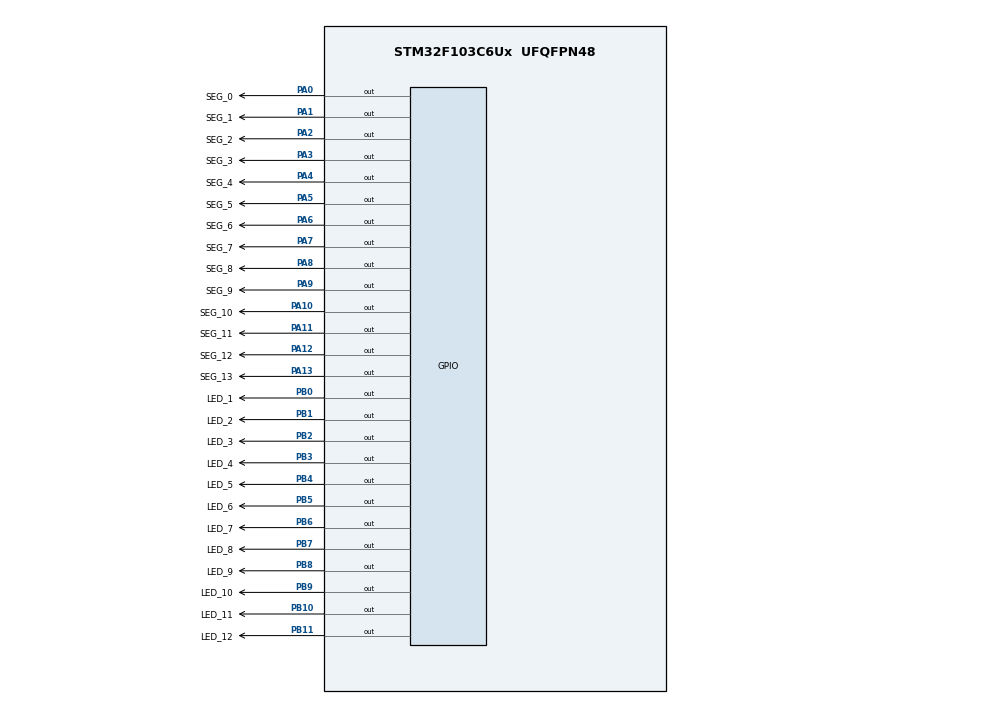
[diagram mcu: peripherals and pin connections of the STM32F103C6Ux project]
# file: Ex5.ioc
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Mcu.Family=STM32F1
Mcu.Name=STM32F103C6Ux
Mcu.Package=UFQFPN48
NVIC.PriorityGroup=NVIC_PRIORITYGROUP_4
PA0-WKUP.GPIO_Label=SEG_0
PA0-WKUP.Signal=GPIO_Output
PA1.GPIO_Label=SEG_1
PA1.Signal=GPIO_Output
PA10.GPIO_Label=SEG_10
PA10.Signal=GPIO_Output
PA11.GPIO_Label=SEG_11
PA11.Signal=GPIO_Output
PA12.GPIO_Label=SEG_12
PA12.Signal=GPIO_Output
PA13.GPIO_Label=SEG_13
PA13.Signal=GPIO_Output
PA2.GPIO_Label=SEG_2
PA2.Signal=GPIO_Output
PA3.GPIO_Label=SEG_3
PA3.Signal=GPIO_Output
PA4.GPIO_Label=SEG_4
PA4.Signal=GPIO_Output
PA5.GPIO_Label=SEG_5
PA5.Signal=GPIO_Output
PA6.GPIO_Label=SEG_6
PA6.Signal=GPIO_Output
PA7.GPIO_Label=SEG_7
PA7.Signal=GPIO_Output
PA8.GPIO_Label=SEG_8
PA8.Signal=GPIO_Output
PA9.GPIO_Label=SEG_9
PA9.Signal=GPIO_Output
PB0.GPIO_Label=LED_1
PB0.Signal=GPIO_Output
PB1.GPIO_Label=LED_2
PB1.Signal=GPIO_Output
PB10.GPIO_Label=LED_11
PB10.Signal=GPIO_Output
PB11.GPIO_Label=LED_12
PB11.Signal=GPIO_Output
PB2.GPIO_Label=LED_3
PB2.Signal=GPIO_Output
PB3.GPIO_Label=LED_4
PB3.Signal=GPIO_Output
PB4.GPIO_Label=LED_5
PB4.Signal=GPIO_Output
PB5.GPIO_Label=LED_6
PB5.Signal=GPIO_Output
PB6.GPIO_Label=LED_7
PB6.Signal=GPIO_Output
PB7.GPIO_Label=LED_8
PB7.Signal=GPIO_Output
PB8.GPIO_Label=LED_9
PB8.Signal=GPIO_Output
PB9.GPIO_Label=LED_10
PB9.Signal=GPIO_Output
ProjectManager.HeapSize=0x200
ProjectManager.StackSize=0x400
ProjectManager.TargetToolchain=STM32CubeIDE
RCC.APB1Freq_Value=8000000
RCC.APB2Freq_Value=8000000
VP_SYS_VS_ND.Mode=No_Debug
board=custom

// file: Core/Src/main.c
/* USER CODE BEGIN Header */
/**
  ******************************************************************************
  * @file           : main.c
  * @brief          : Main program body
  ******************************************************************************
  * @attention
  *
  * <h2><center>&copy; Copyright (c) 2024 STMicroelectronics.
  * All rights reserved.</center></h2>
  *
  * This software component is licensed by ST under BSD 3-Clause license,
  * the "License"; You may not use this file except in compliance with the
  * License. You may obtain a copy of the License at:
  *                        opensource.org/licenses/BSD-3-Clause
  *
  ******************************************************************************
  */
/* USER CODE END Header */
#include "main.h"

void SystemClock_Config(void);
static void MX_GPIO_Init(void);

int main(void)
{

  /* MCU Configuration--------------------------------------------------------*/

  /* Reset of all peripherals, Initializes the Flash interface and the Systick. */
  HAL_Init();

  /* Configure the system clock */
  SystemClock_Config();

  /* Initialize all configured peripherals */
  MX_GPIO_Init();
  /* USER CODE BEGIN 2 */
  void display7SEG(int num1)
    {
  	  if (num1 == 0)
  	  {
  		  HAL_GPIO_WritePin(SEG_0_GPIO_Port, SEG_0_Pin, GPIO_PIN_RESET);
  		  HAL_GPIO_WritePin(SEG_1_GPIO_Port, SEG_1_Pin, GPIO_PIN_RESET);
  		  HAL_GPIO_WritePin(SEG_2_GPIO_Port, SEG_2_Pin, GPIO_PIN_RESET);
  		  HAL_GPIO_WritePin(SEG_3_GPIO_Port, SEG_3_Pin, GPIO_PIN_RESET);
  		  HAL_GPIO_WritePin(SEG_4_GPIO_Port, SEG_4_Pin, GPIO_PIN_RESET);
  		  HAL_GPIO_WritePin(SEG_5_GPIO_Port, SEG_5_Pin, GPIO_PIN_RESET);
  		  HAL_GPIO_WritePin(SEG_6_GPIO_Port, SEG_6_Pin, GPIO_PIN_SET);
  	  }
  	  else if (num1 == 1)
  	  {
  		  HAL_GPIO_WritePin(SEG_0_GPIO_Port, SEG_0_Pin, GPIO_PIN_SET);
  		  HAL_GPIO_WritePin(SEG_1_GPIO_Port, SEG_1_Pin, GPIO_PIN_RESET);
  		  HAL_GPIO_WritePin(SEG_2_GPIO_Port, SEG_2_Pin, GPIO_PIN_RESET);
  		  HAL_GPIO_WritePin(SEG_3_GPIO_Port, SEG_3_Pin, GPIO_PIN_SET);
  		  HAL_GPIO_WritePin(SEG_4_GPIO_Port, SEG_4_Pin, GPIO_PIN_SET);
  		  HAL_GPIO_WritePin(SEG_5_GPIO_Port, SEG_5_Pin, GPIO_PIN_SET);
  		  HAL_GPIO_WritePin(SEG_6_GPIO_Port, SEG_6_Pin, GPIO_PIN_SET);
  	  }
  	  else if (num1 == 2)
  	  {
  		  HAL_GPIO_WritePin(SEG_0_GPIO_Port, SEG_0_Pin, GPIO_PIN_RESET);
  		  HAL_GPIO_WritePin(SEG_1_GPIO_Port, SEG_1_Pin, GPIO_PIN_RESET);
  		  HAL_GPIO_WritePin(SEG_2_GPIO_Port, SEG_2_Pin, GPIO_PIN_SET);
  		  HAL_GPIO_WritePin(SEG_3_GPIO_Port, SEG_3_Pin, GPIO_PIN_RESET);
  		  HAL_GPIO_WritePin(SEG_4_GPIO_Port, SEG_4_Pin, GPIO_PIN_RESET);
  		  HAL_GPIO_WritePin(SEG_5_GPIO_Port, SEG_5_Pin, GPIO_PIN_SET);
  		  HAL_GPIO_WritePin(SEG_6_GPIO_Port, SEG_6_Pin, GPIO_PIN_RESET);
  	  }
  	  else if (num1 == 3)
  	  {
  		  HAL_GPIO_WritePin(SEG_0_GPIO_Port, SEG_0_Pin, GPIO_PIN_RESET);
  		  HAL_GPIO_WritePin(SEG_1_GPIO_Port, SEG_1_Pin, GPIO_PIN_RESET);
  		  HAL_GPIO_WritePin(SEG_2_GPIO_Port, SEG_2_Pin, GPIO_PIN_RESET);
  		  HAL_GPIO_WritePin(SEG_3_GPIO_Port, SEG_3_Pin, GPIO_PIN_RESET);
  		  HAL_GPIO_WritePin(SEG_4_GPIO_Port, SEG_4_Pin, GPIO_PIN_SET);
  		  HAL_GPIO_WritePin(SEG_5_GPIO_Port, SEG_5_Pin, GPIO_PIN_SET);
  		  HAL_GPIO_WritePin(SEG_6_GPIO_Port, SEG_6_Pin, GPIO_PIN_RESET);
  	  }
  	  else if (num1 == 4)
  	  {
  		  HAL_GPIO_WritePin(SEG_0_GPIO_Port, SEG_0_Pin, GPIO_PIN_SET);
  		  HAL_GPIO_WritePin(SEG_1_GPIO_Port, SEG_1_Pin, GPIO_PIN_RESET);
  		  HAL_GPIO_WritePin(SEG_2_GPIO_Port, SEG_2_Pin, GPIO_PIN_RESET);
  		  HAL_GPIO_WritePin(SEG_3_GPIO_Port, SEG_3_Pin, GPIO_PIN_SET);
  		  HAL_GPIO_WritePin(SEG_4_GPIO_Port, SEG_4_Pin, GPIO_PIN_SET);
  		  HAL_GPIO_WritePin(SEG_5_GPIO_Port, SEG_5_Pin, GPIO_PIN_RESET);
  		  HAL_GPIO_WritePin(SEG_6_GPIO_Port, SEG_6_Pin, GPIO_PIN_RESET);
  	  }
  	  else if (num1 == 5)
  	  {
  		  HAL_GPIO_WritePin(SEG_0_GPIO_Port, SEG_0_Pin, GPIO_PIN_RESET);
  		  HAL_GPIO_WritePin(SEG_1_GPIO_Port, SEG_1_Pin, GPIO_PIN_SET);
  		  HAL_GPIO_WritePin(SEG_2_GPIO_Port, SEG_2_Pin, GPIO_PIN_RESET);
  		  HAL_GPIO_WritePin(SEG_3_GPIO_Port, SEG_3_Pin, GPIO_PIN_RESET);
  		  HAL_GPIO_WritePin(SEG_4_GPIO_Port, SEG_4_Pin, GPIO_PIN_SET);
  		  HAL_GPIO_WritePin(SEG_5_GPIO_Port, SEG_5_Pin, GPIO_PIN_RESET);
  		  HAL_GPIO_WritePin(SEG_6_GPIO_Port, SEG_6_Pin, GPIO_PIN_RESET);
  	  }
  	  else if (num1 == 6)
  	  {
  		  HAL_GPIO_WritePin(SEG_0_GPIO_Port, SEG_0_Pin, GPIO_PIN_RESET);
  		  HAL_GPIO_WritePin(SEG_1_GPIO_Port, SEG_1_Pin, GPIO_PIN_SET);
  		  HAL_GPIO_WritePin(SEG_2_GPIO_Port, SEG_2_Pin, GPIO_PIN_RESET);
  		  HAL_GPIO_WritePin(SEG_3_GPIO_Port, SEG_3_Pin, GPIO_PIN_RESET);
  		  HAL_GPIO_WritePin(SEG_4_GPIO_Port, SEG_4_Pin, GPIO_PIN_RESET);
  		  HAL_GPIO_WritePin(SEG_5_GPIO_Port, SEG_5_Pin, GPIO_PIN_RESET);
  		  HAL_GPIO_WritePin(SEG_6_GPIO_Port, SEG_6_Pin, GPIO_PIN_RESET);
  	  }
  	  else if (num1 == 7)
  	  {
  		  HAL_GPIO_WritePin(SEG_0_GPIO_Port, SEG_0_Pin, GPIO_PIN_RESET);
  		  HAL_GPIO_WritePin(SEG_1_GPIO_Port, SEG_1_Pin, GPIO_PIN_RESET);
  		  HAL_GPIO_WritePin(SEG_2_GPIO_Port, SEG_2_Pin, GPIO_PIN_RESET);
  		  HAL_GPIO_WritePin(SEG_3_GPIO_Port, SEG_3_Pin, GPIO_PIN_SET);
  		  HAL_GPIO_WritePin(SEG_4_GPIO_Port, SEG_4_Pin, GPIO_PIN_SET);
  		  HAL_GPIO_WritePin(SEG_5_GPIO_Port, SEG_5_Pin, GPIO_PIN_SET);
  		  HAL_GPIO_WritePin(SEG_6_GPIO_Port, SEG_6_Pin, GPIO_PIN_SET);
  	  }
  	  else if (num1 == 8)
  	  {
  		  HAL_GPIO_WritePin(SEG_0_GPIO_Port, SEG_0_Pin, GPIO_PIN_RESET);
  		  HAL_GPIO_WritePin(SEG_1_GPIO_Port, SEG_1_Pin, GPIO_PIN_RESET);
  		  HAL_GPIO_WritePin(SEG_2_GPIO_Port, SEG_2_Pin, GPIO_PIN_RESET);
  		  HAL_GPIO_WritePin(SEG_3_GPIO_Port, SEG_3_Pin, GPIO_PIN_RESET);
  		  HAL_GPIO_WritePin(SEG_4_GPIO_Port, SEG_4_Pin, GPIO_PIN_RESET);
  		  HAL_GPIO_WritePin(SEG_5_GPIO_Port, SEG_5_Pin, GPIO_PIN_RESET);
  		  HAL_GPIO_WritePin(SEG_6_GPIO_Port, SEG_6_Pin, GPIO_PIN_RESET);
  	  }
  	  else if (num1 == 9)
  	  {
  		  HAL_GPIO_WritePin(SEG_0_GPIO_Port, SEG_0_Pin, GPIO_PIN_RESET);
  		  HAL_GPIO_WritePin(SEG_1_GPIO_Port, SEG_1_Pin, GPIO_PIN_RESET);
  		  HAL_GPIO_WritePin(SEG_2_GPIO_Port, SEG_2_Pin, GPIO_PIN_RESET);
  		  HAL_GPIO_WritePin(SEG_3_GPIO_Port, SEG_3_Pin, GPIO_PIN_RESET);
  		  HAL_GPIO_WritePin(SEG_4_GPIO_Port, SEG_4_Pin, GPIO_PIN_SET);
  		  HAL_GPIO_WritePin(SEG_5_GPIO_Port, SEG_5_Pin, GPIO_PIN_RESET);
  		  HAL_GPIO_WritePin(SEG_6_GPIO_Port, SEG_6_Pin, GPIO_PIN_RESET);
  	  }
    }

  void display7SEG2(int num2)
    {
  	  if (num2 == 0)
  	  {
  		  HAL_GPIO_WritePin(SEG_7_GPIO_Port, SEG_7_Pin, GPIO_PIN_RESET);
  		  HAL_GPIO_WritePin(SEG_8_GPIO_Port, SEG_8_Pin, GPIO_PIN_RESET);
  		  HAL_GPIO_WritePin(SEG_9_GPIO_Port, SEG_9_Pin, GPIO_PIN_RESET);
  		  HAL_GPIO_WritePin(SEG_10_GPIO_Port, SEG_10_Pin, GPIO_PIN_RESET);
  		  HAL_GPIO_WritePin(SEG_11_GPIO_Port, SEG_11_Pin, GPIO_PIN_RESET);
  		  HAL_GPIO_WritePin(SEG_12_GPIO_Port, SEG_12_Pin, GPIO_PIN_RESET);
  		  HAL_GPIO_WritePin(SEG_13_GPIO_Port, SEG_13_Pin, GPIO_PIN_SET);
  	  }
  	  else if (num2 == 1)
  	  {
  		  HAL_GPIO_WritePin(SEG_7_GPIO_Port, SEG_7_Pin, GPIO_PIN_SET);
  		  HAL_GPIO_WritePin(SEG_8_GPIO_Port, SEG_8_Pin, GPIO_PIN_RESET);
  		  HAL_GPIO_WritePin(SEG_9_GPIO_Port, SEG_9_Pin, GPIO_PIN_RESET);
  		  HAL_GPIO_WritePin(SEG_10_GPIO_Port, SEG_10_Pin, GPIO_PIN_SET);
  		  HAL_GPIO_WritePin(SEG_11_GPIO_Port, SEG_11_Pin, GPIO_PIN_SET);
  		  HAL_GPIO_WritePin(SEG_12_GPIO_Port, SEG_12_Pin, GPIO_PIN_SET);
  		  HAL_GPIO_WritePin(SEG_13_GPIO_Port, SEG_13_Pin, GPIO_PIN_SET);
  	  }
  	  else if (num2 == 2)
  	  {
  		  HAL_GPIO_WritePin(SEG_7_GPIO_Port, SEG_7_Pin, GPIO_PIN_RESET);
  		  HAL_GPIO_WritePin(SEG_8_GPIO_Port, SEG_8_Pin, GPIO_PIN_RESET);
  		  HAL_GPIO_WritePin(SEG_9_GPIO_Port, SEG_9_Pin, GPIO_PIN_SET);
  		  HAL_GPIO_WritePin(SEG_10_GPIO_Port, SEG_10_Pin, GPIO_PIN_RESET);
  		  HAL_GPIO_WritePin(SEG_11_GPIO_Port, SEG_11_Pin, GPIO_PIN_RESET);
  		  HAL_GPIO_WritePin(SEG_12_GPIO_Port, SEG_12_Pin, GPIO_PIN_SET);
  		  HAL_GPIO_WritePin(SEG_13_GPIO_Port, SEG_13_Pin, GPIO_PIN_RESET);
  	  }
  	  else if (num2 == 3)
  	  {
  		  HAL_GPIO_WritePin(SEG_7_GPIO_Port, SEG_7_Pin, GPIO_PIN_RESET);
  		  HAL_GPIO_WritePin(SEG_8_GPIO_Port, SEG_8_Pin, GPIO_PIN_RESET);
  		  HAL_GPIO_WritePin(SEG_9_GPIO_Port, SEG_9_Pin, GPIO_PIN_RESET);
  		  HAL_GPIO_WritePin(SEG_10_GPIO_Port, SEG_10_Pin, GPIO_PIN_RESET);
  		  HAL_GPIO_WritePin(SEG_11_GPIO_Port, SEG_11_Pin, GPIO_PIN_SET);
  		  HAL_GPIO_WritePin(SEG_12_GPIO_Port, SEG_12_Pin, GPIO_PIN_SET);
  		  HAL_GPIO_WritePin(SEG_13_GPIO_Port, SEG_13_Pin, GPIO_PIN_RESET);
  	  }
  	  else if (num2 == 4)
  	  {
  		  HAL_GPIO_WritePin(SEG_7_GPIO_Port, SEG_7_Pin, GPIO_PIN_SET);
  		  HAL_GPIO_WritePin(SEG_8_GPIO_Port, SEG_8_Pin, GPIO_PIN_RESET);
  		  HAL_GPIO_WritePin(SEG_9_GPIO_Port, SEG_9_Pin, GPIO_PIN_RESET);
  		  HAL_GPIO_WritePin(SEG_10_GPIO_Port, SEG_10_Pin, GPIO_PIN_SET);
  		  HAL_GPIO_WritePin(SEG_11_GPIO_Port, SEG_11_Pin, GPIO_PIN_SET);
  		  HAL_GPIO_WritePin(SEG_12_GPIO_Port, SEG_12_Pin, GPIO_PIN_RESET);
  		  HAL_GPIO_WritePin(SEG_13_GPIO_Port, SEG_13_Pin, GPIO_PIN_RESET);
  	  }
  	  else if (num2 == 5)
  	  {
  		  HAL_GPIO_WritePin(SEG_7_GPIO_Port, SEG_7_Pin, GPIO_PIN_RESET);
  		  HAL_GPIO_WritePin(SEG_8_GPIO_Port, SEG_8_Pin, GPIO_PIN_SET);
  		  HAL_GPIO_WritePin(SEG_9_GPIO_Port, SEG_9_Pin, GPIO_PIN_RESET);
  		  HAL_GPIO_WritePin(SEG_10_GPIO_Port, SEG_10_Pin, GPIO_PIN_RESET);
  		  HAL_GPIO_WritePin(SEG_11_GPIO_Port, SEG_11_Pin, GPIO_PIN_SET);
  		  HAL_GPIO_WritePin(SEG_12_GPIO_Port, SEG_12_Pin, GPIO_PIN_RESET);
  		  HAL_GPIO_WritePin(SEG_13_GPIO_Port, SEG_13_Pin, GPIO_PIN_RESET);
  	  }
  	  else if (num2 == 6)
  	  {
  		  HAL_GPIO_WritePin(SEG_7_GPIO_Port, SEG_7_Pin, GPIO_PIN_RESET);
  		  HAL_GPIO_WritePin(SEG_8_GPIO_Port, SEG_8_Pin, GPIO_PIN_SET);
  		  HAL_GPIO_WritePin(SEG_9_GPIO_Port, SEG_9_Pin, GPIO_PIN_RESET);
  		  HAL_GPIO_WritePin(SEG_10_GPIO_Port, SEG_10_Pin, GPIO_PIN_RESET);
  		  HAL_GPIO_WritePin(SEG_11_GPIO_Port, SEG_11_Pin, GPIO_PIN_RESET);
  		  HAL_GPIO_WritePin(SEG_12_GPIO_Port, SEG_12_Pin, GPIO_PIN_RESET);
  		  HAL_GPIO_WritePin(SEG_13_GPIO_Port, SEG_13_Pin, GPIO_PIN_RESET);
  	  }
  	  else if (num2 == 7)
  	  {
  		  HAL_GPIO_WritePin(SEG_7_GPIO_Port, SEG_7_Pin, GPIO_PIN_RESET);
  		  HAL_GPIO_WritePin(SEG_8_GPIO_Port, SEG_8_Pin, GPIO_PIN_RESET);
  		  HAL_GPIO_WritePin(SEG_9_GPIO_Port, SEG_9_Pin, GPIO_PIN_RESET);
  		  HAL_GPIO_WritePin(SEG_10_GPIO_Port, SEG_10_Pin, GPIO_PIN_SET);
  		  HAL_GPIO_WritePin(SEG_11_GPIO_Port, SEG_11_Pin, GPIO_PIN_SET);
  		  HAL_GPIO_WritePin(SEG_12_GPIO_Port, SEG_12_Pin, GPIO_PIN_SET);
  		  HAL_GPIO_WritePin(SEG_13_GPIO_Port, SEG_13_Pin, GPIO_PIN_SET);
  	  }
  	  else if (num2 == 8)
  	  {
  		  HAL_GPIO_WritePin(SEG_7_GPIO_Port, SEG_7_Pin, GPIO_PIN_RESET);
  		  HAL_GPIO_WritePin(SEG_8_GPIO_Port, SEG_8_Pin, GPIO_PIN_RESET);
  		  HAL_GPIO_WritePin(SEG_9_GPIO_Port, SEG_9_Pin, GPIO_PIN_RESET);
  		  HAL_GPIO_WritePin(SEG_10_GPIO_Port, SEG_10_Pin, GPIO_PIN_RESET);
  		  HAL_GPIO_WritePin(SEG_11_GPIO_Port, SEG_11_Pin, GPIO_PIN_RESET);
  		  HAL_GPIO_WritePin(SEG_12_GPIO_Port, SEG_12_Pin, GPIO_PIN_RESET);
  		  HAL_GPIO_WritePin(SEG_13_GPIO_Port, SEG_13_Pin, GPIO_PIN_RESET);
  	  }
  	  else if (num2 == 9)
  	  {
  		  HAL_GPIO_WritePin(SEG_7_GPIO_Port, SEG_7_Pin, GPIO_PIN_RESET);
  		  HAL_GPIO_WritePin(SEG_8_GPIO_Port, SEG_8_Pin, GPIO_PIN_RESET);
  		  HAL_GPIO_WritePin(SEG_9_GPIO_Port, SEG_9_Pin, GPIO_PIN_RESET);
  		  HAL_GPIO_WritePin(SEG_10_GPIO_Port, SEG_10_Pin, GPIO_PIN_RESET);
  		  HAL_GPIO_WritePin(SEG_11_GPIO_Port, SEG_11_Pin, GPIO_PIN_SET);
  		  HAL_GPIO_WritePin(SEG_12_GPIO_Port, SEG_12_Pin, GPIO_PIN_RESET);
  		  HAL_GPIO_WritePin(SEG_13_GPIO_Port, SEG_13_Pin, GPIO_PIN_RESET);
  	  }
    }

  HAL_GPIO_WritePin(LED_1_GPIO_Port, LED_1_Pin, GPIO_PIN_RESET);
  HAL_GPIO_WritePin(LED_2_GPIO_Port, LED_2_Pin, GPIO_PIN_RESET);
  HAL_GPIO_WritePin(LED_3_GPIO_Port, LED_3_Pin, GPIO_PIN_RESET);
  HAL_GPIO_WritePin(LED_4_GPIO_Port, LED_4_Pin, GPIO_PIN_RESET);
  HAL_GPIO_WritePin(LED_5_GPIO_Port, LED_5_Pin, GPIO_PIN_RESET);
  HAL_GPIO_WritePin(LED_6_GPIO_Port, LED_6_Pin, GPIO_PIN_RESET);
  HAL_GPIO_WritePin(LED_7_GPIO_Port, LED_7_Pin, GPIO_PIN_RESET);
  HAL_GPIO_WritePin(LED_8_GPIO_Port, LED_8_Pin, GPIO_PIN_RESET);
  HAL_GPIO_WritePin(LED_9_GPIO_Port, LED_9_Pin, GPIO_PIN_RESET);
  HAL_GPIO_WritePin(LED_10_GPIO_Port, LED_10_Pin, GPIO_PIN_RESET);
  HAL_GPIO_WritePin(LED_11_GPIO_Port, LED_11_Pin, GPIO_PIN_RESET);
  HAL_GPIO_WritePin(LED_12_GPIO_Port, LED_12_Pin, GPIO_PIN_RESET);

  HAL_GPIO_WritePin(SEG_0_GPIO_Port, SEG_0_Pin, GPIO_PIN_SET);
  HAL_GPIO_WritePin(SEG_1_GPIO_Port, SEG_1_Pin, GPIO_PIN_SET);
  HAL_GPIO_WritePin(SEG_2_GPIO_Port, SEG_2_Pin, GPIO_PIN_SET);
  HAL_GPIO_WritePin(SEG_3_GPIO_Port, SEG_3_Pin, GPIO_PIN_SET);
  HAL_GPIO_WritePin(SEG_4_GPIO_Port, SEG_4_Pin, GPIO_PIN_SET);
  HAL_GPIO_WritePin(SEG_5_GPIO_Port, SEG_5_Pin, GPIO_PIN_SET);
  HAL_GPIO_WritePin(SEG_6_GPIO_Port, SEG_6_Pin, GPIO_PIN_SET);

  HAL_GPIO_WritePin(SEG_7_GPIO_Port, SEG_7_Pin, GPIO_PIN_SET);
  HAL_GPIO_WritePin(SEG_8_GPIO_Port, SEG_8_Pin, GPIO_PIN_SET);
  HAL_GPIO_WritePin(SEG_9_GPIO_Port, SEG_9_Pin, GPIO_PIN_SET);
  HAL_GPIO_WritePin(SEG_10_GPIO_Port, SEG_10_Pin, GPIO_PIN_SET);
  HAL_GPIO_WritePin(SEG_11_GPIO_Port, SEG_11_Pin, GPIO_PIN_SET);
  HAL_GPIO_WritePin(SEG_12_GPIO_Port, SEG_12_Pin, GPIO_PIN_SET);
  HAL_GPIO_WritePin(SEG_13_GPIO_Port, SEG_13_Pin, GPIO_PIN_SET);
  /* USER CODE END 2 */

  /* Infinite loop */
  /* USER CODE BEGIN WHILE */
  int counter1 = 0;
  int counter2 = 0;
  int counter3 = 10;
  int counter4 = 10;
  while (1)
  {
	  counter1++;
	  counter2++;
	  counter3--;
	  counter4--;
	  	  if (counter1 <= 5)
	  	  {
	  		  HAL_GPIO_WritePin(LED_2_GPIO_Port, LED_2_Pin, GPIO_PIN_RESET);
	  		  HAL_GPIO_WritePin(LED_8_GPIO_Port, LED_8_Pin, GPIO_PIN_RESET);
	  		  HAL_GPIO_WritePin(LED_1_GPIO_Port, LED_1_Pin, GPIO_PIN_SET);
	  		  HAL_GPIO_WritePin(LED_7_GPIO_Port, LED_7_Pin, GPIO_PIN_SET);
	  		  display7SEG(counter3 - 5);
	  	  }
	  	  else if (counter1 > 5 && counter1 <= 8)
	  	  {
	  		  HAL_GPIO_WritePin(LED_1_GPIO_Port, LED_1_Pin, GPIO_PIN_RESET);
	  		  HAL_GPIO_WritePin(LED_7_GPIO_Port, LED_7_Pin, GPIO_PIN_RESET);
	  		  HAL_GPIO_WritePin(LED_3_GPIO_Port, LED_3_Pin, GPIO_PIN_SET);
	  		  HAL_GPIO_WritePin(LED_9_GPIO_Port, LED_9_Pin, GPIO_PIN_SET);
	  		  display7SEG(counter3 - 2);
	  	  }
	  	  else if (counter1 > 8 && counter1 <= 10)
	  	  {
	  		  HAL_GPIO_WritePin(LED_3_GPIO_Port, LED_3_Pin, GPIO_PIN_RESET);
	  		  HAL_GPIO_WritePin(LED_9_GPIO_Port, LED_9_Pin, GPIO_PIN_RESET);
	  		  HAL_GPIO_WritePin(LED_2_GPIO_Port, LED_2_Pin, GPIO_PIN_SET);
	  		  HAL_GPIO_WritePin(LED_8_GPIO_Port, LED_8_Pin, GPIO_PIN_SET);
	  		  display7SEG(counter3);
	  	  }
	  	  if (counter2 <= 3)
	  	  {
	  		  HAL_GPIO_WritePin(LED_4_GPIO_Port, LED_4_Pin, GPIO_PIN_RESET);
	  		  HAL_GPIO_WritePin(LED_10_GPIO_Port, LED_10_Pin, GPIO_PIN_RESET);
	  		  HAL_GPIO_WritePin(LED_6_GPIO_Port, LED_6_Pin, GPIO_PIN_SET);
	  		  HAL_GPIO_WritePin(LED_12_GPIO_Port, LED_12_Pin, GPIO_PIN_SET);
	  		  display7SEG2(counter4 - 7);
	  	  }
	  	  else if (counter2 > 3 && counter2 <= 5)
	  	  {
	  		  HAL_GPIO_WritePin(LED_5_GPIO_Port, LED_5_Pin, GPIO_PIN_SET);
	  		  HAL_GPIO_WritePin(LED_11_GPIO_Port, LED_11_Pin, GPIO_PIN_SET);
	  		  HAL_GPIO_WritePin(LED_6_GPIO_Port, LED_6_Pin, GPIO_PIN_RESET);
	  		  HAL_GPIO_WritePin(LED_12_GPIO_Port, LED_12_Pin, GPIO_PIN_RESET);
	  		  display7SEG2(counter4 - 5);
	  	  }
	  	  else if (counter2 > 5 && counter2 <= 10)
	  	  {
	  		  HAL_GPIO_WritePin(LED_4_GPIO_Port, LED_4_Pin, GPIO_PIN_SET);
	  		  HAL_GPIO_WritePin(LED_10_GPIO_Port, LED_10_Pin, GPIO_PIN_SET);
	  		  HAL_GPIO_WritePin(LED_5_GPIO_Port, LED_5_Pin, GPIO_PIN_RESET);
	  		  HAL_GPIO_WritePin(LED_11_GPIO_Port, LED_11_Pin, GPIO_PIN_RESET);
	  		  display7SEG2(counter4);
	  	  }
	  	  if (counter1 >= 10) counter1 = 0;
	  	  if (counter2 >= 10) counter2 = 0;
	  	  if (counter3 <= 0) counter3 = 10;
	  	  if (counter4 <= 0) counter4 = 10;
	  	  HAL_Delay(1000);
  }
    /* USER CODE END WHILE */

}

void SystemClock_Config(void)
{
  RCC_OscInitTypeDef RCC_OscInitStruct = {0};
  RCC_ClkInitTypeDef RCC_ClkInitStruct = {0};

  /** Initializes the RCC Oscillators according to the specified parameters
  * in the RCC_OscInitTypeDef structure.
  */
  RCC_OscInitStruct.OscillatorType = RCC_OSCILLATORTYPE_HSI;
  RCC_OscInitStruct.HSIState = RCC_HSI_ON;
  RCC_OscInitStruct.HSICalibrationValue = RCC_HSICALIBRATION_DEFAULT;
  RCC_OscInitStruct.PLL.PLLState = RCC_PLL_NONE;
  if (HAL_RCC_OscConfig(&RCC_OscInitStruct) != HAL_OK)
  {
    Error_Handler();
  }
  /** Initializes the CPU, AHB and APB buses clocks
  */
  RCC_ClkInitStruct.ClockType = RCC_CLOCKTYPE_HCLK|RCC_CLOCKTYPE_SYSCLK
                              |RCC_CLOCKTYPE_PCLK1|RCC_CLOCKTYPE_PCLK2;
  RCC_ClkInitStruct.SYSCLKSource = RCC_SYSCLKSOURCE_HSI;
  RCC_ClkInitStruct.AHBCLKDivider = RCC_SYSCLK_DIV1;
  RCC_ClkInitStruct.APB1CLKDivider = RCC_HCLK_DIV1;
  RCC_ClkInitStruct.APB2CLKDivider = RCC_HCLK_DIV1;

  if (HAL_RCC_ClockConfig(&RCC_ClkInitStruct, FLASH_LATENCY_0) != HAL_OK)
  {
    Error_Handler();
  }
}

static void MX_GPIO_Init(void)
{
  GPIO_InitTypeDef GPIO_InitStruct = {0};

  /* GPIO Ports Clock Enable */
  __HAL_RCC_GPIOA_CLK_ENABLE();
  __HAL_RCC_GPIOB_CLK_ENABLE();

  /*Configure GPIO pin Output Level */
  HAL_GPIO_WritePin(GPIOA, SEG_0_Pin|SEG_1_Pin|SEG_2_Pin|SEG_3_Pin
                          |SEG_4_Pin|SEG_5_Pin|SEG_6_Pin|SEG_7_Pin
                          |SEG_8_Pin|SEG_9_Pin|SEG_10_Pin|SEG_11_Pin
                          |SEG_12_Pin|SEG_13_Pin, GPIO_PIN_RESET);

  /*Configure GPIO pin Output Level */
  HAL_GPIO_WritePin(GPIOB, LED_1_Pin|LED_2_Pin|LED_3_Pin|LED_11_Pin
                          |LED_12_Pin|LED_4_Pin|LED_5_Pin|LED_6_Pin
                          |LED_7_Pin|LED_8_Pin|LED_9_Pin|LED_10_Pin, GPIO_PIN_RESET);

  /*Configure GPIO pins : SEG_0_Pin SEG_1_Pin SEG_2_Pin SEG_3_Pin
                           SEG_4_Pin SEG_5_Pin SEG_6_Pin SEG_7_Pin
                           SEG_8_Pin SEG_9_Pin SEG_10_Pin SEG_11_Pin
                           SEG_12_Pin SEG_13_Pin */
  GPIO_InitStruct.Pin = SEG_0_Pin|SEG_1_Pin|SEG_2_Pin|SEG_3_Pin
                          |SEG_4_Pin|SEG_5_Pin|SEG_6_Pin|SEG_7_Pin
                          |SEG_8_Pin|SEG_9_Pin|SEG_10_Pin|SEG_11_Pin
                          |SEG_12_Pin|SEG_13_Pin;
  GPIO_InitStruct.Mode = GPIO_MODE_OUTPUT_PP;
  GPIO_InitStruct.Pull = GPIO_NOPULL;
  GPIO_InitStruct.Speed = GPIO_SPEED_FREQ_LOW;
  HAL_GPIO_Init(GPIOA, &GPIO_InitStruct);

  /*Configure GPIO pins : LED_1_Pin LED_2_Pin LED_3_Pin LED_11_Pin
                           LED_12_Pin LED_4_Pin LED_5_Pin LED_6_Pin
                           LED_7_Pin LED_8_Pin LED_9_Pin LED_10_Pin */
  GPIO_InitStruct.Pin = LED_1_Pin|LED_2_Pin|LED_3_Pin|LED_11_Pin
                          |LED_12_Pin|LED_4_Pin|LED_5_Pin|LED_6_Pin
                          |LED_7_Pin|LED_8_Pin|LED_9_Pin|LED_10_Pin;
  GPIO_InitStruct.Mode = GPIO_MODE_OUTPUT_PP;
  GPIO_InitStruct.Pull = GPIO_NOPULL;
  GPIO_InitStruct.Speed = GPIO_SPEED_FREQ_LOW;
  HAL_GPIO_Init(GPIOB, &GPIO_InitStruct);

}

void Error_Handler(void)
{
  __disable_irq();
  while (1)
  {
  }
}

/************************ (C) COPYRIGHT STMicroelectronics *****END OF FILE****/
